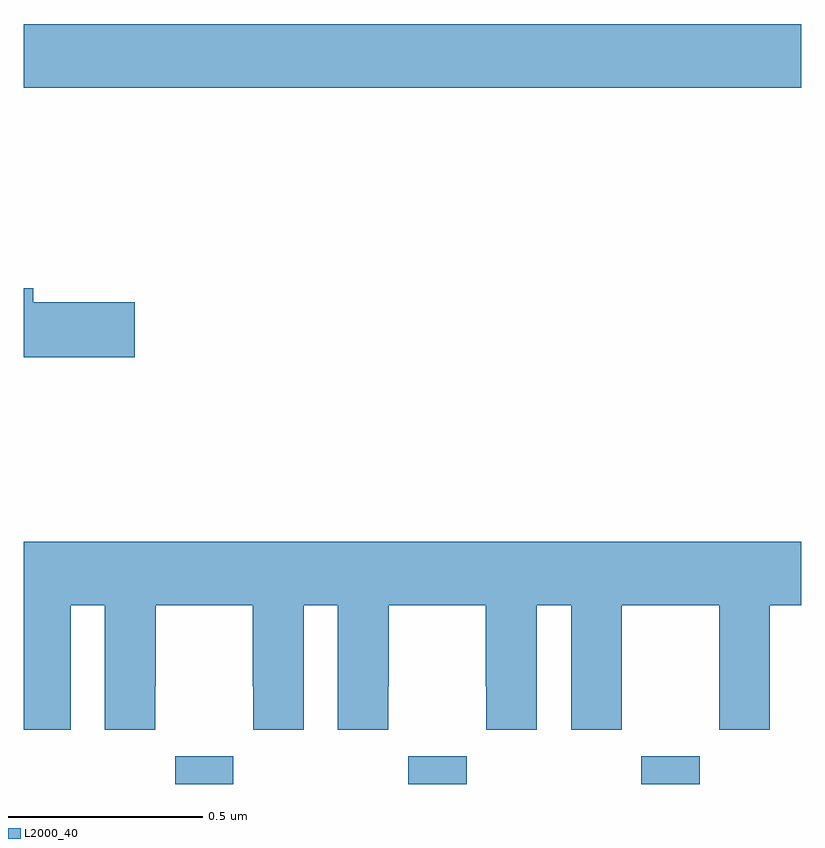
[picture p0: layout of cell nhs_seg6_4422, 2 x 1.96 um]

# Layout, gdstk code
import gdstk
lib = gdstk.Library(unit=1e-6, precision=1e-09)
def R(c, l, rs):  # rectangles x0, y0, x1, y1
    for r in rs: c.add(gdstk.rectangle(r[:2], r[2:], *l))
def A(c, l, x, y, w, h, nx, ny, dx, dy):  # array of equal rectangles
    R(c, l, [(x+i*dx, y+j*dy, x+i*dx+w, y+j*dy+h) for i in range(nx) for j in range(ny)])
def P(c, l, *ps):  # polygons
    for p in ps: c.add(gdstk.Polygon(p, *l))
L2000_40 = (2000, 40)

nhs_seg6_4422 = lib.new_cell('nhs_seg6_4422')
A(nhs_seg6_4422, L2000_40, 169.389, 989.5, 0.15, 0.072, 3, 1, 0.6, 0)
R(nhs_seg6_4422, L2000_40, [(169,991.292,171,991.456)])
P(nhs_seg6_4422, L2000_40, [(169.285,990.74),(169.024,990.74),(169.024,990.776),(169,990.776),(169,990.598),(169.285,990.598)],
  [(169.12,989.96),(169.208,989.96),(169.208,989.64),(169.338,989.64),(169.338,989.752),(169.339,989.752),(169.339,989.96),(169.589,989.96),(169.589,989.752),(169.59,989.752),(169.59,989.64),(169.72,989.64),(169.72,989.96),(169.808,989.96),(169.808,989.64),(169.938,989.64),(169.938,989.752),(169.939,989.752),(169.939,989.96),(170.189,989.96),(170.189,989.752),(170.19,989.752),(170.19,989.64),(170.32,989.64),(170.32,989.96),(170.408,989.96),(170.408,989.64),(170.538,989.64),(170.538,989.752),(170.539,989.752),(170.539,989.96),(170.789,989.96),(170.789,989.752),(170.79,989.752),(170.79,989.64),(170.92,989.64),(170.92,989.96),(171,989.96),(171,990.124),(169,990.124),(169,989.64),(169.12,989.64)])

lib.write_gds('nhs_seg6_4422.gds')
